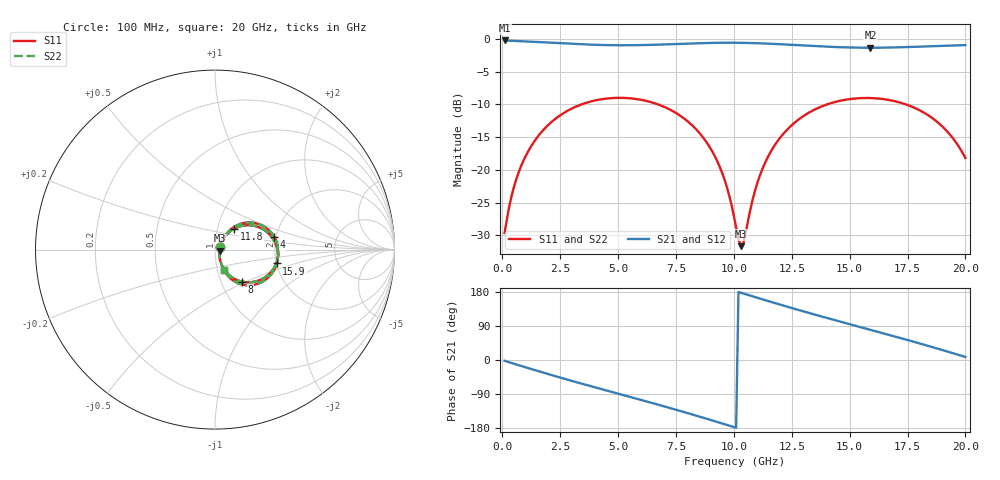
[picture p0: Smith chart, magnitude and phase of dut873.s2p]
! Touchstone file exported from HFSS 2026.1.0
!  File:  C:/ffzhzh/LocalFiles/Ansys_Project_Files/temp_train_TSV_RDL_873_1783272607_38704.aedt
!  Generated:  01:40:37 AM Jul  6, 2026
!  Design:  TSV_RDL
!  Project:  temp_train_TSV_RDL_873_1783272607_38704
! Variables:
!  h_bsmrdl = 5um
!  h_ox = 20um
!  h_rdl = 5um
!  h_sub = 70.92um
!  h_tmrdl = 2.58um
!  h_tsv = 70.92um
!  h_via = 3um
!  l_bsmrdl = 926.4um
!  l_sub = 6012.9um
!  l_tmrdl = 679.34um
!  m_sub = 200um
!  pitch = 32.85um
!  r_tsv = 10.23um
!  s_tmrdl = 10um
!  w_bsmrdl = 15.01um
!  w_sub = 500um
!  w_tmrdl = 23.77um
!  x_tsv_center1 = 691.225um
!  x_tsv_center2 = 1632.635um
!  x_tsv_center3 = 2335.745um
!  x_tsv_center4 = 3277.155um
!  x_tsv_center5 = 3980.265um
!  x_tsv_center6 = 4921.675um
# GHz S MA R 50.000000
! Terminal data exported
! Port[1] = TM_RDL1_1_T1
! Port[2] = TM_RDL5_1_T1
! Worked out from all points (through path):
!   200 points, 100 MHz to 20 GHz, reference 50 ohm
!   highest |S21| = -0.26 dB at 100 MHz (marker M1); lowest = -1.4 dB at 15.9 GHz (marker M2)
!   group delay of S21, straight-line fit = 48.7 ps
!   lowest |S11| = -31.7 dB at 10.3 GHz (marker M3), VSWR 1.05, Z = 52.6 - j0.637 ohm
!   |S11| at or under -10 dB: start of sweep to 3.436 GHz; 6.711 GHz to 14.04 GHz (7.332 GHz wide, 70.7 % of centre); 17.41 GHz to end of sweep
!   |S22| runs from -31.6 to -9.0 dB; largest |S21 - S12| = 1.7e-14
!   S11 on the Smith chart (normalised r, x): 100 MHz: 1.06, +0.03; 4 GHz: 1.95, +0.31; 8 GHz: 1.26, -0.48; 11.8 GHz: 1.20, +0.29; 15.9 GHz: 2.01, -0.35; 20 GHz: 1.08, -0.25
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0.1  0.03294 24.1  0.9703 -2.1  0.9703 -2.1  0.03294 24.1
! Gamma 0 0 0 0
! Port Impedance 50 0 50 0
0.5  0.07367 51.7  0.9628 -9.8  0.9628 -9.8  0.07367 51.7
1.2  0.1466 51.7  0.9505 -22.9  0.9505 -22.9  0.1466 51.7
2.2  0.2377 39.4  0.9307 -41.1  0.9307 -41.1  0.2377 39.4
3.5  0.3192 19.8  0.906 -63.7  0.906 -63.7  0.3192 19.9
4  0.3379 12.1  0.8992 -72.1  0.8992 -72.1  0.3379 12.2
5.4  0.3525 -9.4  0.8921 -95.4  0.8921 -95.4  0.3525 -9.4
6.8  0.312 -31.1  0.9022 -119.0  0.9022 -119.0  0.312 -31.1
8  0.2348 -49.6  0.918 -140.1  0.918 -140.1  0.2348 -49.5
9.3  0.1148 -65.6  0.931 -163.8  0.931 -163.8  0.1148 -65.5
9.7  0.07382 -65.2  0.9323 -171.3  0.9323 -171.3  0.07387 -65.0
10.1  0.0362 -47.2  0.9319 -178.8  0.9319 -178.8  0.03633 -46.9
10.3  0.02615 -13.4  0.931 177.5  0.931 177.5  0.02634 -13.2
10.4  0.02715 8.7  0.9304 175.6  0.9304 175.6  0.02734 8.7
11.1  0.08803 52.0  0.9232 162.6  0.9232 162.6  0.0881 52.0
11.8  0.1573 47.4  0.9119 149.8  0.9119 149.8  0.1573 47.5
13.4  0.2829 24.9  0.8801 121.5  0.8801 121.5  0.2829 25.0
14.6  0.3366 6.8  0.8616 101.2  0.8616 101.2  0.3367 6.9
15.9  0.3528 -12.6  0.8542 79.7  0.8542 79.7  0.3528 -12.6
16.7  0.3409 -24.6  0.8568 66.4  0.8568 66.4  0.341 -24.5
18.6  0.2459 -52.3  0.8782 33.6  0.8782 33.6  0.2459 -52.3
20  0.123 -65.7  0.8935 8.0  0.8935 8.0  0.1228 -66.1
